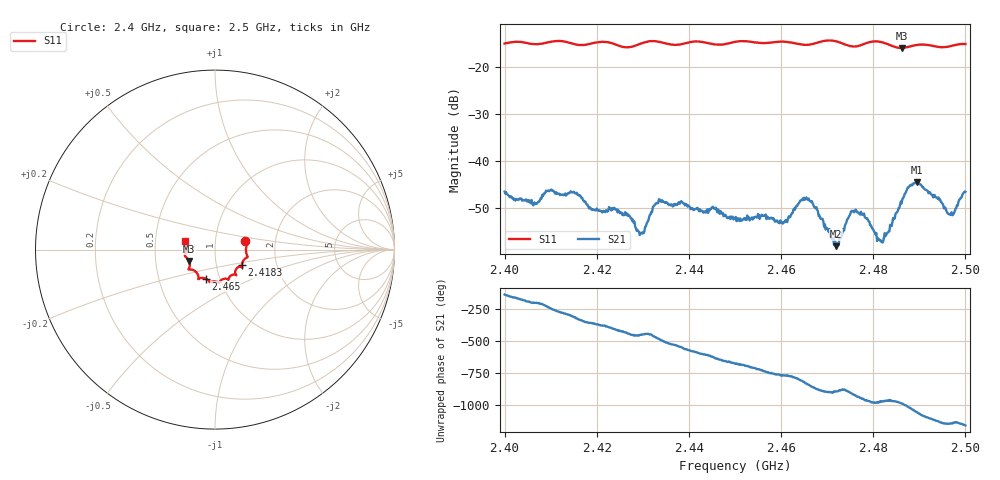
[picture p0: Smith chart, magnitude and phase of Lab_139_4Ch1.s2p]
# Hz S RI R 50
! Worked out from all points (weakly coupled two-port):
!   601 points, 2.4 GHz to 2.5 GHz, reference 50 ohm
!   highest |S21| = -44.57 dB at 2.4895 GHz (marker M1); lowest = -58.1 dB at 2.472 GHz (marker M2)
!   lowest |S11| = -16.1 dB at 2.4862 GHz (marker M3), VSWR 1.37, Z = 37.1 - j4.8 ohm
!   |S11| at or under -10 dB: start of sweep to end of sweep
!   S12 and S22 are empty: the file has one direction only
!   S11 on the Smith chart (normalised r, x): 2.4 GHz: 1.40, +0.13; 2.4183 GHz: 1.33, -0.24; 2.465 GHz: 0.86, -0.29; 2.5 GHz: 0.71, +0.07
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2.4e9  0.1693 0.0459  -0.00332 -0.00335  0 0  0 0
2.4065e9  0.1725 0.003  -0.00343 0.00118  0 0  0 0
2.409667e9  0.1784 -0.0327  -0.00254 0.00403  0 0  0 0
2.416667e9  0.1546 -0.068  0.00373 0.00158  0 0  0 0
2.418333e9  0.15 -0.087  0.00313 8.82e-05  0 0  0 0
2.426667e9  0.1203 -0.1053  0.000425 -0.00258  0 0  0 0
2.429833e9  0.1134 -0.1358  5.01e-07 -0.0017  0 0  0 0
2.433333e9  0.1175 -0.141  -0.00186 -0.00305  0 0  0 0
2.4455e9  0.0579 -0.1617  5.11e-06 0.00311  0 0  0 0
2.45e9  0.0252 -0.181  0.00182 0.00172  0 0  0 0
2.460833e9  -0.0297 -0.181  0.00141 -0.00175  0 0  0 0
2.465e9  -0.0524 -0.1617  -0.000829 -0.00398  0 0  0 0
2.466667e9  -0.0715 -0.1571  -0.0028 -0.00249  0 0  0 0
2.472e9  -0.0913 -0.1609  -0.00124 -0.000102  0 0  0 0
2.475667e9  -0.1068 -0.1231  -0.00277 0.00103  0 0  0 0
2.478167e9  -0.1349 -0.1111  -0.00104 0.00229  0 0  0 0
2.481333e9  -0.1474 -0.1094  -0.000344 0.0014  0 0  0 0
2.483333e9  -0.1415 -0.0963  -0.000619 0.00167  0 0  0 0
2.486167e9  -0.1442 -0.063  0.000102 0.00353  0 0  0 0
2.4895e9  -0.1651 -0.0391  0.00555 0.00204  0 0  0 0
2.496833e9  -0.1627 0.026  0.0011 -0.00244  0 0  0 0
2.5e9  -0.1671 0.0467  0.000529 -0.00466  0 0  0 0
